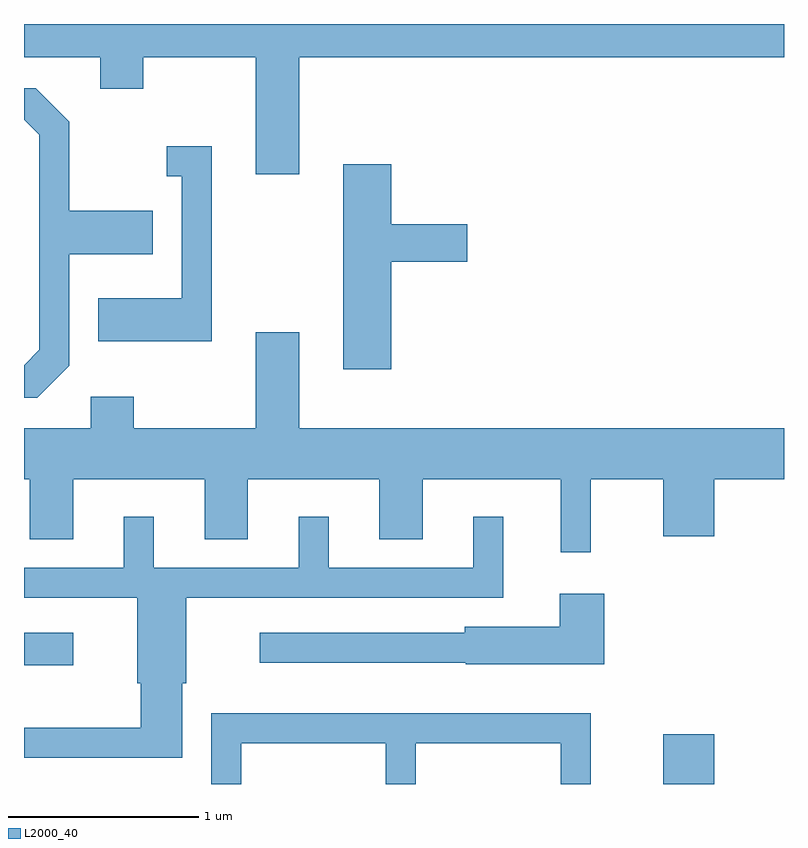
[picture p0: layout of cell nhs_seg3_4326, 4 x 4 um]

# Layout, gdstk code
import gdstk
lib = gdstk.Library(unit=1e-6, precision=1e-09)
def R(c, l, rs):  # rectangles x0, y0, x1, y1
    for r in rs: c.add(gdstk.rectangle(r[:2], r[2:], *l))
def P(c, l, *ps):  # polygons
    for p in ps: c.add(gdstk.Polygon(p, *l))
L2000_40 = (2000, 40)

nhs_seg3_4326 = lib.new_cell('nhs_seg3_4326')
R(nhs_seg3_4326, L2000_40, [(314.976,1199.892,315.244,1200.154), (311.611,1200.516,311.869,1200.689)])
P(nhs_seg3_4326, L2000_40, [(313.059,1203.716),(315.611,1203.716),(315.611,1203.892),(311.611,1203.892),(311.611,1203.716),(312.011,1203.716),(312.011,1203.551),(312.239,1203.551),(312.239,1203.716),(312.831,1203.716),(312.831,1203.101),(313.059,1203.101)],
  [(311.849,1202.094),(311.849,1202.681),(312.289,1202.681),(312.289,1202.909),(311.849,1202.909),(311.849,1203.377),(311.672,1203.554),(311.611,1203.554),(311.611,1203.389),(311.691,1203.309),(311.691,1202.177),(311.611,1202.096),(311.611,1201.926),(311.682,1201.926)],
  [(312.599,1203.249),(312.363,1203.249),(312.363,1203.091),(312.441,1203.091),(312.441,1202.449),(312.001,1202.449),(312.001,1202.221),(312.599,1202.221)],
  [(313.544,1202.641),(313.944,1202.641),(313.944,1202.839),(313.544,1202.839),(313.544,1203.154),(313.291,1203.154),(313.291,1202.076),(313.544,1202.076)],
  [(314.594,1201.496),(314.976,1201.496),(314.976,1201.196),(315.244,1201.196),(315.244,1201.496),(315.611,1201.496),(315.611,1201.764),(313.059,1201.764),(313.059,1202.269),(312.831,1202.269),(312.831,1201.764),(312.189,1201.764),(312.189,1201.929),(311.961,1201.929),(311.961,1201.764),(311.611,1201.764),(311.611,1201.496),(311.641,1201.496),(311.641,1201.181),(311.869,1201.181),(311.869,1201.496),(312.561,1201.496),(312.561,1201.181),(312.789,1201.181),(312.789,1201.496),(313.481,1201.496),(313.481,1201.181),(313.709,1201.181),(313.709,1201.496),(314.436,1201.496),(314.436,1201.113),(314.594,1201.113)],
  [(312.444,1200.421),(312.464,1200.421),(312.464,1200.871),(314.134,1200.871),(314.134,1201.298),(313.976,1201.298),(313.976,1201.029),(313.214,1201.029),(313.214,1201.298),(313.056,1201.298),(313.056,1201.029),(312.294,1201.029),(312.294,1201.298),(312.136,1201.298),(312.136,1201.029),(311.611,1201.029),(311.611,1200.871),(312.206,1200.871),(312.206,1200.421),(312.226,1200.421),(312.226,1200.189),(311.611,1200.189),(311.611,1200.031),(312.444,1200.031)],
  [(314.664,1200.894),(314.431,1200.894),(314.431,1200.719),(313.931,1200.719),(313.931,1200.689),(312.853,1200.689),(312.853,1200.531),(313.935,1200.531),(313.935,1200.521),(314.664,1200.521)],
  [(312.754,1200.106),(313.516,1200.106),(313.516,1199.892),(313.674,1199.892),(313.674,1200.106),(314.436,1200.106),(314.436,1199.892),(314.594,1199.892),(314.594,1200.264),(312.596,1200.264),(312.596,1199.892),(312.754,1199.892)])

lib.write_gds('nhs_seg3_4326.gds')
